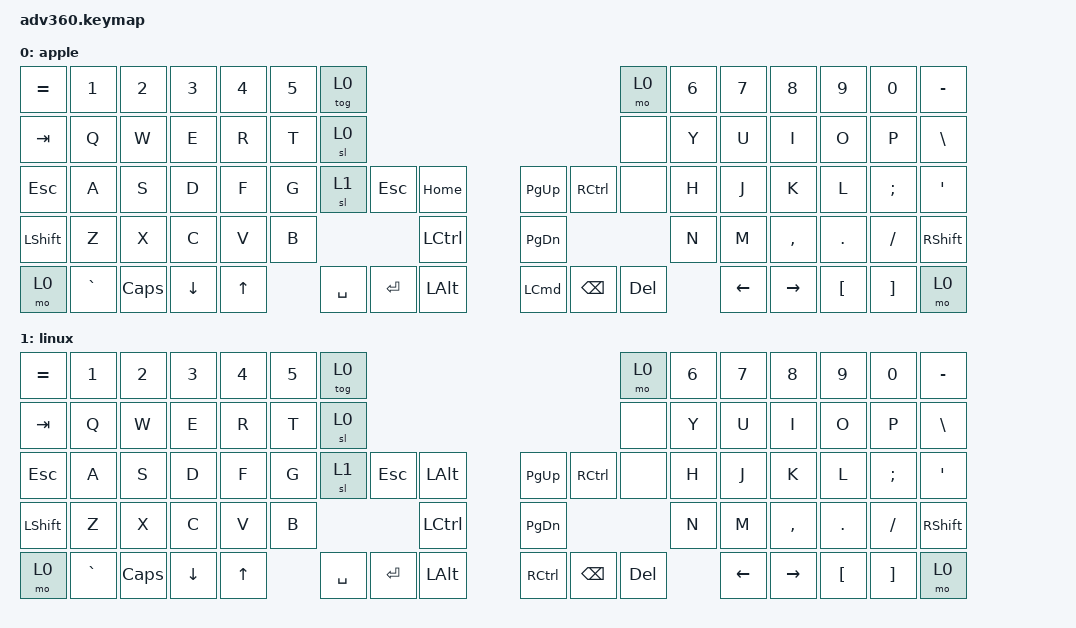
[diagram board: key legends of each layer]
/*
 * Copyright (c) 2020 The ZMK Contributors
 *
 * SPDX-License-Identifier: MIT
 */
/* THIS FILE WAS GENERATED!
 *
 * This file was generated automatically. You may or may not want to
 * edit it directly.
 */

#include <behaviors.dtsi>
#include <dt-bindings/zmk/keys.h>

/ {
    behaviors {
        #include "macros.dtsi"
    #include "version.dtsi"

        hm: homerow_mods {
            compatible = "zmk,behavior-hold-tap";
            label = "HOMEROW_MODS";
            #binding-cells = <2>;
            tapping-term-ms = <200>;
            quick_tap_ms = <175>;
            flavor = "tap-preferred";
            bindings = <&kp>, <&kp>;
        };
    };

    keymap {
        compatible = "zmk,keymap";

        apple {
            bindings = <
&kp EQUAL  &kp N1     &kp N2    &kp N3    &kp N4  &kp N5  &tog 0                                                                   &mo 0       &kp N6  &kp N7    &kp N8     &kp N9    &kp N0    &kp MINUS
&kp TAB    &kp Q      &kp W     &kp E     &kp R   &kp T   &sl 0                                                                    &none       &kp Y   &kp U     &kp I      &kp O     &kp P     &kp BSLH
&kp ESC    &kp A      &kp S     &kp D     &kp F   &kp G   &sl 1      &kp ESC    &kp HOME              &kp PAGE_UP       &kp RCTRL  &none       &kp H   &kp J     &kp K      &kp L     &kp SEMI  &kp SQT
&kp LSHFT  &kp Z      &kp X     &kp C     &kp V   &kp B                         &kp LEFT_CONTROL      &kp PAGE_DOWN                            &kp N   &kp M     &kp COMMA  &kp DOT   &kp FSLH  &kp RSHFT
&mo 0      &kp GRAVE  &kp CAPS  &kp DOWN  &kp UP          &kp SPACE  &kp ENTER  &kp LALT              &kp LEFT_COMMAND  &kp BSPC   &kp DELETE          &kp LEFT  &kp RIGHT  &kp LBKT  &kp RBKT  &mo 0
            >;
        };

        linux {
            bindings = <
&kp EQUAL  &kp N1     &kp N2    &kp N3    &kp N4  &kp N5  &tog 0                                                                    &mo 0       &kp N6  &kp N7    &kp N8     &kp N9    &kp N0    &kp MINUS
&kp TAB    &kp Q      &kp W     &kp E     &kp R   &kp T   &sl 0                                                                     &none       &kp Y   &kp U     &kp I      &kp O     &kp P     &kp BSLH
&kp ESC    &kp A      &kp S     &kp D     &kp F   &kp G   &sl 1      &kp ESC    &kp LEFT_ALT          &kp PAGE_UP        &kp RCTRL  &none       &kp H   &kp J     &kp K      &kp L     &kp SEMI  &kp SQT
&kp LSHFT  &kp Z      &kp X     &kp C     &kp V   &kp B                         &kp LEFT_CONTROL      &kp PAGE_DOWN                             &kp N   &kp M     &kp COMMA  &kp DOT   &kp FSLH  &kp RSHFT
&mo 0      &kp GRAVE  &kp CAPS  &kp DOWN  &kp UP          &kp SPACE  &kp ENTER  &kp LEFT_ALT          &kp RIGHT_CONTROL  &kp BSPC   &kp DELETE          &kp LEFT  &kp RIGHT  &kp LBKT  &kp RBKT  &mo 0
            >;
        };
    };
};
